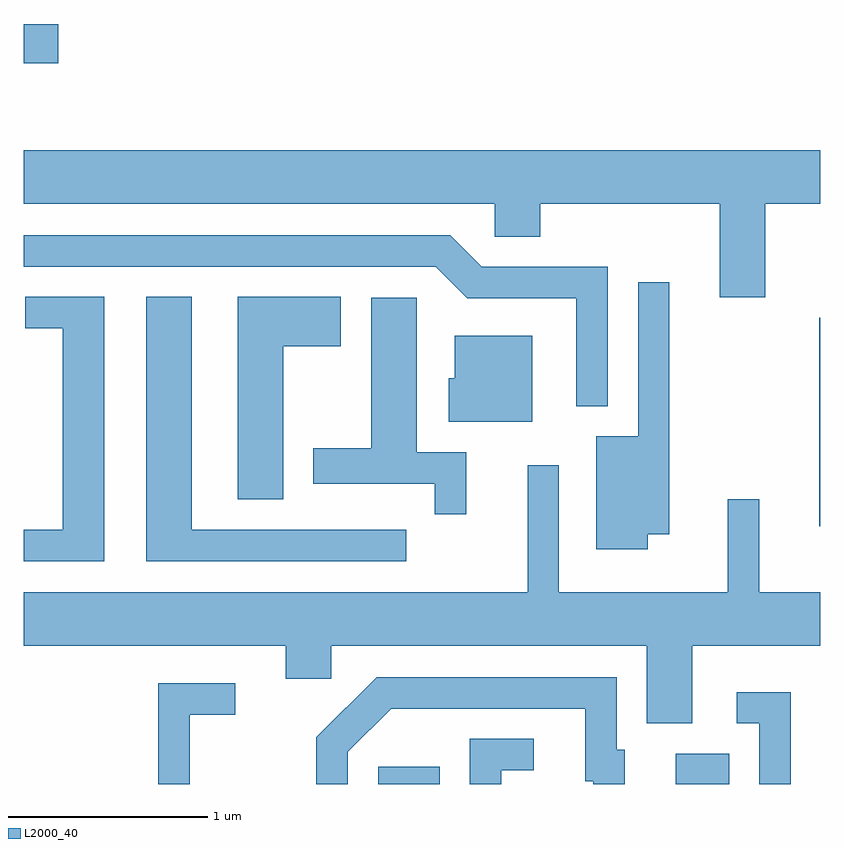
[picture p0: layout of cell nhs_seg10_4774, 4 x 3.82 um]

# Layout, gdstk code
import gdstk
lib = gdstk.Library(unit=1e-6, precision=1e-09)
def R(c, l, rs):  # rectangles x0, y0, x1, y1
    for r in rs: c.add(gdstk.rectangle(r[:2], r[2:], *l))
def P(c, l, *ps):  # polygons
    for p in ps: c.add(gdstk.Polygon(p, *l))
L2000_40 = (2000, 40)

nhs_seg10_4774 = lib.new_cell('nhs_seg10_4774')
R(nhs_seg10_4774, L2000_40, [(327.391,2146.522,327.699,2146.609), (328.886,2146.522,329.154,2146.674), (329.606,2147.816,329.611,2148.864), (325.611,2150.141,325.784,2150.339)])
P(nhs_seg10_4774, L2000_40, [(329.334,2149.436),(329.611,2149.436),(329.611,2149.704),(325.611,2149.704),(325.611,2149.436),(327.976,2149.436),(327.976,2149.271),(328.204,2149.271),(328.204,2149.436),(329.106,2149.436),(329.106,2148.966),(329.334,2148.966)],
  [(328.544,2149.119),(327.912,2149.119),(327.752,2149.279),(325.611,2149.279),(325.611,2149.121),(327.679,2149.121),(327.839,2148.961),(328.386,2148.961),(328.386,2148.418),(328.544,2148.418)],
  [(328.744,2147.776),(328.854,2147.776),(328.854,2149.043),(328.696,2149.043),(328.696,2148.269),(328.486,2148.269),(328.486,2147.701),(328.744,2147.701)],
  [(326.914,2148.721),(327.204,2148.721),(327.204,2148.969),(326.686,2148.969),(326.686,2147.951),(326.914,2147.951)],
  [(326.014,2148.969),(325.618,2148.969),(325.618,2148.811),(325.806,2148.811),(325.806,2147.799),(325.611,2147.799),(325.611,2147.641),(326.014,2147.641)],
  [(327.533,2147.799),(326.454,2147.799),(326.454,2148.969),(326.226,2148.969),(326.226,2147.641),(327.533,2147.641)],
  [(327.834,2148.189),(327.584,2148.189),(327.584,2148.964),(327.356,2148.964),(327.356,2148.209),(327.066,2148.209),(327.066,2148.031),(327.676,2148.031),(327.676,2147.878),(327.834,2147.878)],
  [(328.164,2148.774),(327.776,2148.774),(327.776,2148.559),(327.746,2148.559),(327.746,2148.341),(328.164,2148.341)],
  [(328.969,2147.216),(329.611,2147.216),(329.611,2147.484),(329.304,2147.484),(329.304,2147.953),(329.146,2147.953),(329.146,2147.484),(328.299,2147.484),(328.299,2148.123),(328.141,2148.123),(328.141,2147.484),(325.611,2147.484),(325.611,2147.216),(326.926,2147.216),(326.926,2147.051),(327.154,2147.051),(327.154,2147.216),(328.741,2147.216),(328.741,2146.826),(328.969,2146.826)],
  [(327.239,2146.684),(327.457,2146.901),(328.431,2146.901),(328.431,2146.536),(328.471,2146.536),(328.471,2146.522),(328.629,2146.522),(328.629,2146.694),(328.589,2146.694),(328.589,2147.059),(327.384,2147.059),(327.081,2146.757),(327.081,2146.522),(327.239,2146.522)],
  [(326.444,2146.871),(326.673,2146.871),(326.673,2147.029),(326.286,2147.029),(326.286,2146.522),(326.444,2146.522)],
  [(329.464,2146.984),(329.193,2146.984),(329.193,2146.826),(329.306,2146.826),(329.306,2146.522),(329.464,2146.522)],
  [(328.009,2146.591),(328.173,2146.591),(328.173,2146.749),(327.851,2146.749),(327.851,2146.522),(328.009,2146.522)])

lib.write_gds('nhs_seg10_4774.gds')
